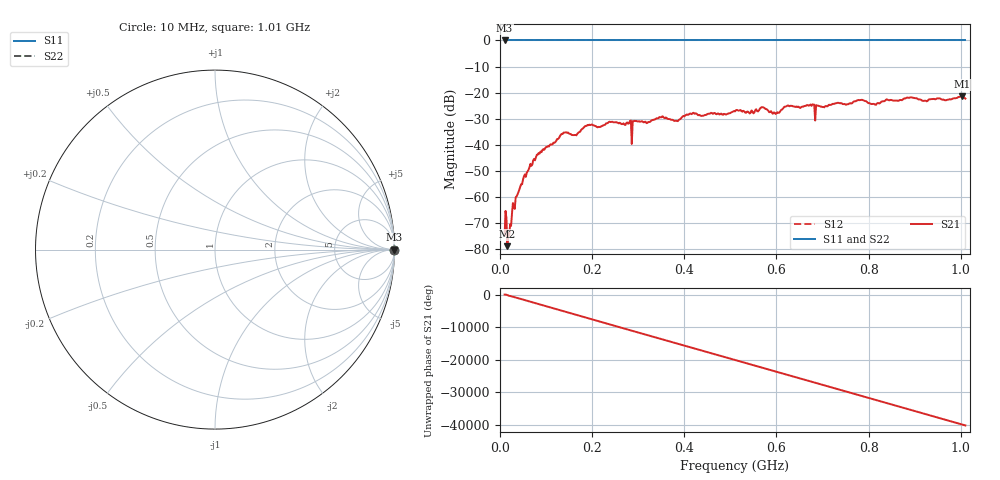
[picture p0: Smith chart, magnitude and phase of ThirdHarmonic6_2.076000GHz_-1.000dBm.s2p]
! 8/17/2025 12:51:54 AM
! C:\ANRITSUVNA\TEMP\TEMP.S2P
! CHANNEL.1
! TR.MEASUREMENT
! RAW.DATA
! RF.CORRECTION.OFF
! AVERAGING.OFF
! IF.BANDWIDTH: 5KHZ
! SWEEPTYPE:  FREQ.SWEEP(Linear)
! Reference Plane Port Info
! PORT:  PORT1  PORT2
! DISTANCE:  0  m  0  m
! TIME:  0  s  0  s
! PHASE.OFFSET:  0  deg.  0  deg.
! LOSS:  0  dB  0  dB
! REF.LOSS:  0  dB  0  dB
! REF.FREQ:  0  Hz  0  Hz
! Power Info
! POWER:  -20  dBm  -20  dBm
! EFF.POWER:  -20  dBm  -20  dBm
! SOURCE.ATTEN:  0  dB  0  dB
! TEST.ATTEN:  0  dB  0  dB
# GHZ S RI R 50.0
! FREQ.GHZ  S11RE  S11IM  S21RE  S21IM  S12RE  S12IM  S22RE  S22IM
!; PortSelection: Port_12
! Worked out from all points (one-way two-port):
!   501 points, 10 MHz to 1.01 GHz, reference 50 ohm
!   highest |S21| = -21.36 dB at 1.002 GHz (marker M1); lowest = -78.8 dB at 16 MHz (marker M2)
!   lowest |S11| = 0.0 dB at 10 MHz (marker M3)
!   |S11| at or under -10 dB: nowhere
!   |S22| runs from 0.0 to 0.0 dB; largest |S21 - S12| = 1.1
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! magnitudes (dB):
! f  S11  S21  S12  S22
! 10 MHz  0.0  -74.9  0.0  0.0
! 16 MHz  0.0  -78.8  0.0  0.0
! 20 MHz  0.0  -74.8  0.0  0.0
! 30 MHz  0.0  -63.5  0.0  0.0
! 50 MHz  0.0  -53.2  0.0  0.0
! 76 MHz  0.0  -45.9  0.0  0.0
! 136 MHz  0.0  -35.8  0.0  0.0
! 162 MHz  0.0  -36.2  0.0  0.0
! 178 MHz  0.0  -34.0  0.0  0.0
! 240 MHz  0.0  -31.2  0.0  0.0
! 282 MHz  0.0  -30.9  0.0  0.0
! 344 MHz  0.0  -29.8  0.0  0.0
! 382 MHz  0.0  -30.7  0.0  0.0
! 416 MHz  0.0  -28.2  0.0  0.0
! 510 MHz  0.0  -27.2  0.0  0.0
! 570 MHz  0.0  -25.6  0.0  0.0
! 596 MHz  0.0  -27.7  0.0  0.0
! 622 MHz  0.0  -25.2  0.0  0.0
! 678 MHz  0.0  -24.5  0.0  0.0
! 844 MHz  0.0  -22.9  0.0  0.0
! 1.002 GHz  0.0  -21.4  0.0  0.0
! 1.01 GHz  0.0  -22.3  0.0  0.0
